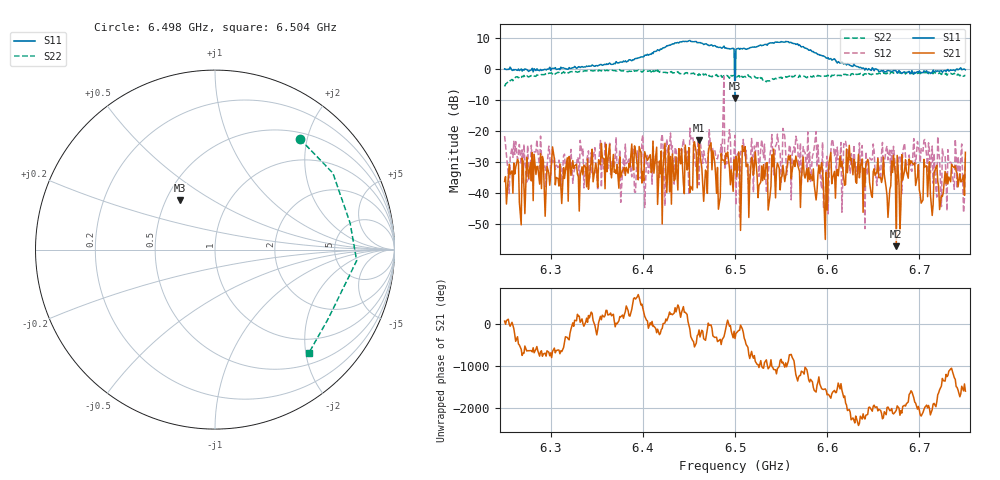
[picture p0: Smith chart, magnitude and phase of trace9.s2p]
# Hz S RI R 50
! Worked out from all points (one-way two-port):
!   401 points, 6.25 GHz to 6.75 GHz, reference 50 ohm
!   highest |S21| = -23.10 dB at 6.461 GHz (marker M1); lowest = -57.3 dB at 6.675 GHz (marker M2)
!   lowest |S11| = -9.4 dB at 6.5 GHz (marker M3), VSWR 2.02, Z = 29.4 + j18.2 ohm
!   |S11| at or under -10 dB: nowhere
!   |S22| runs from -5.7 to -0.2 dB; largest |S21 - S12| = 0.74
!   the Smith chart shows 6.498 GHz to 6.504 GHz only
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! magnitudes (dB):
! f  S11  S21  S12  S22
! 6.25 GHz  0.0  -36.4  -21.7  -5.7
! 6.256 GHz  0.6  -34.1  -28.7  -3.8
! 6.334 GHz  0.7  -31.7  -27.5  -0.9
! 6.418 GHz  5.9  -29.8  -35.1  -1.1
! 6.461 GHz  8.4  -23.1  -37.5  -1.6
! 6.485 GHz  6.8  -27.4  -24.4  -2.2
! 6.5 GHz  -9.4  -32.6  -21.5  -2.3
! 6.51 GHz  6.6  -26.6  -26.2  -2.5
! 6.528 GHz  7.7  -36.6  -25.5  -3.0
! 6.584 GHz  5.5  -36.1  -28.2  -2.6
! 6.594 GHz  4.3  -30.3  -38.8  -2.5
! 6.599 GHz  3.5  -33.5  -30.8  -2.4
! 6.606 GHz  3.0  -35.2  -22.7  -2.1
! 6.624 GHz  1.3  -24.7  -31.5  -1.9
! 6.641 GHz  -0.4  -38.1  -51.6  -1.6
! 6.649 GHz  0.4  -41.5  -29.3  -1.7
! 6.668 GHz  -0.7  -38.9  -25.8  -1.6
! 6.675 GHz  -0.8  -57.3  -36.4  -1.2
! 6.678 GHz  -0.6  -37.4  -28.2  -1.3
! 6.691 GHz  -1.4  -29.7  -32.7  -1.2
! 6.724 GHz  -0.6  -41.1  -44.5  -1.8
! 6.75 GHz  -0.3  -27.0  -28.9  -2.2
